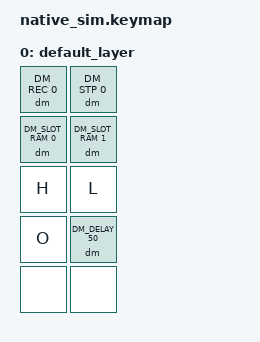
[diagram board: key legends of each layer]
#include <dt-bindings/zmk/keys.h>
#include <behaviors.dtsi>
#include <dt-bindings/zmk/kscan_mock.h>
#include <behaviors/dynamic_macro.dtsi>
#include <dt-bindings/zmk/dynamic_macros.h>

&kscan {
    rows = <5>;
    columns = <2>;
    exit-after;
    events = <
        /* DM_DELAY while idle: a no-op, nothing recorded or emitted */
        ZMK_MOCK_PRESS(3,1,10)
        ZMK_MOCK_RELEASE(3,1,10)
        /* REC */
        ZMK_MOCK_PRESS(0,0,10)
        ZMK_MOCK_RELEASE(0,0,10)
        /* H (recorded) */
        ZMK_MOCK_PRESS(2,0,10)
        ZMK_MOCK_RELEASE(2,0,10)
        /* DM_DELAY 50ms (insert a delay marker at the draft cursor) */
        ZMK_MOCK_PRESS(3,1,10)
        ZMK_MOCK_RELEASE(3,1,10)
        /* L (recorded) */
        ZMK_MOCK_PRESS(2,1,10)
        ZMK_MOCK_RELEASE(2,1,10)
        /* DM_DELAY 50ms (a second marker — delays stack at any number of points) */
        ZMK_MOCK_PRESS(3,1,10)
        ZMK_MOCK_RELEASE(3,1,10)
        /* O (recorded) */
        ZMK_MOCK_PRESS(3,0,10)
        ZMK_MOCK_RELEASE(3,0,10)
        /* STP */
        ZMK_MOCK_PRESS(0,1,10)
        ZMK_MOCK_RELEASE(0,1,10)
        /* SLOT_RAM 0 (assign) */
        ZMK_MOCK_PRESS(1,0,10)
        ZMK_MOCK_RELEASE(1,0,10)
        /*
         * SLOT_RAM 0 (play): the macro is H + 50ms + L + 50ms + O. The delay
         * markers must emit NO keycodes of their own — the host sees exactly
         * the H, L, O sequence, in order (the extra pauses themselves are
         * timing, which the keycode snapshot cannot observe; the invariant is
         * that they neither drop, reorder, or leak a keystroke).
         */
        ZMK_MOCK_PRESS(1,0,2000)
        ZMK_MOCK_RELEASE(1,0,10)
    >;
};

/ {
    keymap {
        compatible = "zmk,keymap";
        default_layer {
            bindings = <
                &dm DM_REC 0        &dm DM_STP 0
                &dm DM_SLOT_RAM 0   &dm DM_SLOT_RAM 1
                &kp H               &kp L
                &kp O               &dm DM_DELAY 50
                &none               &none
            >;
        };
    };
};
